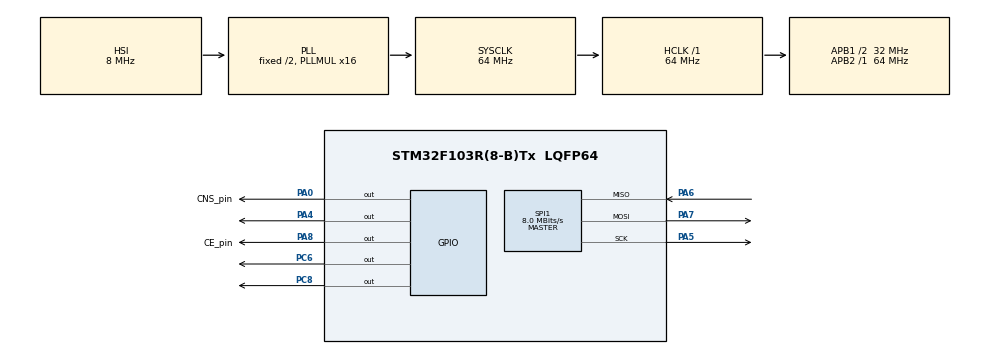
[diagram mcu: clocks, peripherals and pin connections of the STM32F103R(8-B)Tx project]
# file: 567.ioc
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Mcu.Family=STM32F1
Mcu.Name=STM32F103R(8-B)Tx
Mcu.Package=LQFP64
NVIC.PriorityGroup=NVIC_PRIORITYGROUP_4
PA0-WKUP.GPIO_Label=CNS_pin
PA0-WKUP.Signal=GPIO_Output
PA4.Signal=GPIO_Output
PA5.Mode=Full_Duplex_Master
PA5.Signal=SPI1_SCK
PA6.Mode=Full_Duplex_Master
PA6.Signal=SPI1_MISO
PA7.Mode=Full_Duplex_Master
PA7.Signal=SPI1_MOSI
PA8.GPIO_Label=CE_pin
PA8.Signal=GPIO_Output
PC6.Signal=GPIO_Output
PC8.Signal=GPIO_Output
PD0-OSC_IN.Mode=HSE-External-Oscillator
PD0-OSC_IN.Signal=RCC_OSC_IN
PD1-OSC_OUT.Mode=HSE-External-Oscillator
PD1-OSC_OUT.Signal=RCC_OSC_OUT
ProjectManager.HeapSize=0x200
ProjectManager.StackSize=0x400
ProjectManager.TargetToolchain=STM32CubeIDE
RCC.AHBFreq_Value=64000000
RCC.APB1CLKDivider=RCC_HCLK_DIV2
RCC.APB1Freq_Value=32000000
RCC.APB1TimFreq_Value=64000000
RCC.APB2Freq_Value=64000000
RCC.APB2TimFreq_Value=64000000
RCC.HCLKFreq_Value=64000000
RCC.PLLMUL=RCC_PLL_MUL16
RCC.RTCClockSelection=RCC_RTCCLKSOURCE_LSE
RCC.SYSCLKFreq_VALUE=64000000
RCC.SYSCLKSource=RCC_SYSCLKSOURCE_PLLCLK
RCC.USBFreq_Value=64000000
SPI1.BaudRatePrescaler=SPI_BAUDRATEPRESCALER_8
SPI1.CalculateBaudRate=8.0 MBits/s
SPI1.Direction=SPI_DIRECTION_2LINES
SPI1.Mode=SPI_MODE_MASTER
SPI1.VirtualType=VM_MASTER
VP_SYS_VS_ND.Mode=No_Debug
board=NUCLEO-F103RB

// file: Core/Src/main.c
/* USER CODE BEGIN Header */
/**
  ******************************************************************************
  * @file           : main.c
  * @brief          : Main program body
  ******************************************************************************
  * @attention
  *
  * Copyright (c) 2025 STMicroelectronics.
  * All rights reserved.
  *
  * This software is licensed under terms that can be found in the LICENSE file
  * in the root directory of this software component.
  * If no LICENSE file comes with this software, it is provided AS-IS.
  *
  ******************************************************************************
  */
/* USER CODE END Header */
#include "main.h"
#include "spi.h"
#include "gpio.h"

/* USER CODE BEGIN Includes */
#include "NRF24.h"
#include "NRF24_conf.h"
#include "string.h"
/* USER CODE END Includes */

void SystemClock_Config(void);

/* USER CODE BEGIN 0 */
void nrf24_receiver_setup(void)
{
    uint8_t rx_address[5] = {'R', 'x', 'A', 'A', 'A'}; // 수신기 주소

    nrf24_defaults();  // NRF24 모듈을 기본 설정으로 초기화
    nrf24_open_rx_pipe(1, rx_address);  // 수신기 파이프 설정 (1번 파이프)
    nrf24_listen();  // 수신 대기 시작
}

void receive_data(void)
{
    uint8_t rx_data[32];  // 수신된 데이터를 저장할 배열

    // 데이터 수신 여부 확인
    if (nrf24_data_available()) {
        nrf24_receive(rx_data, sizeof(rx_data));  // 데이터 수신

        // 수신된 데이터가 "hi"와 일치하는지 확인
        if (strcmp((char*)rx_data, "hi") == 0) {
            // 수신된 데이터가 "hi"이면 LED 켜기
            HAL_GPIO_WritePin(GPIOC, GPIO_PIN_8, GPIO_PIN_SET);  // PC8 LED 켜기
        } else {
            // 수신된 데이터가 "hi"가 아니면 LED 끄기
            HAL_GPIO_WritePin(GPIOC, GPIO_PIN_6, GPIO_PIN_SET);  // PC8 LED 끄기
        }
    }
}
/* USER CODE END 0 */

int main(void)
{

  /* MCU Configuration--------------------------------------------------------*/

  /* Reset of all peripherals, Initializes the Flash interface and the Systick. */
  HAL_Init();

  /* Configure the system clock */
  SystemClock_Config();

  /* Initialize all configured peripherals */
  MX_GPIO_Init();
  MX_SPI1_Init();
  /* USER CODE BEGIN 2 */
  nrf24_receiver_setup();
  /* USER CODE END 2 */

  /* Infinite loop */
  while (1)
  {

    /* USER CODE BEGIN 3 */
	  receive_data();  // 데이터 수신 시도
	          HAL_Delay(100);  // 짧은 지연
  }
  /* USER CODE END 3 */
}

void SystemClock_Config(void)
{
  RCC_OscInitTypeDef RCC_OscInitStruct = {0};
  RCC_ClkInitTypeDef RCC_ClkInitStruct = {0};

  /** Initializes the RCC Oscillators according to the specified parameters
  * in the RCC_OscInitTypeDef structure.
  */
  RCC_OscInitStruct.OscillatorType = RCC_OSCILLATORTYPE_HSI;
  RCC_OscInitStruct.HSIState = RCC_HSI_ON;
  RCC_OscInitStruct.HSICalibrationValue = RCC_HSICALIBRATION_DEFAULT;
  RCC_OscInitStruct.PLL.PLLState = RCC_PLL_ON;
  RCC_OscInitStruct.PLL.PLLSource = RCC_PLLSOURCE_HSI_DIV2;
  RCC_OscInitStruct.PLL.PLLMUL = RCC_PLL_MUL16;
  if (HAL_RCC_OscConfig(&RCC_OscInitStruct) != HAL_OK)
  {
    Error_Handler();
  }

  /** Initializes the CPU, AHB and APB buses clocks
  */
  RCC_ClkInitStruct.ClockType = RCC_CLOCKTYPE_HCLK|RCC_CLOCKTYPE_SYSCLK
                              |RCC_CLOCKTYPE_PCLK1|RCC_CLOCKTYPE_PCLK2;
  RCC_ClkInitStruct.SYSCLKSource = RCC_SYSCLKSOURCE_PLLCLK;
  RCC_ClkInitStruct.AHBCLKDivider = RCC_SYSCLK_DIV1;
  RCC_ClkInitStruct.APB1CLKDivider = RCC_HCLK_DIV2;
  RCC_ClkInitStruct.APB2CLKDivider = RCC_HCLK_DIV1;

  if (HAL_RCC_ClockConfig(&RCC_ClkInitStruct, FLASH_LATENCY_2) != HAL_OK)
  {
    Error_Handler();
  }
}

void Error_Handler(void)
{
  __disable_irq();
  while (1)
  {
  }
}
